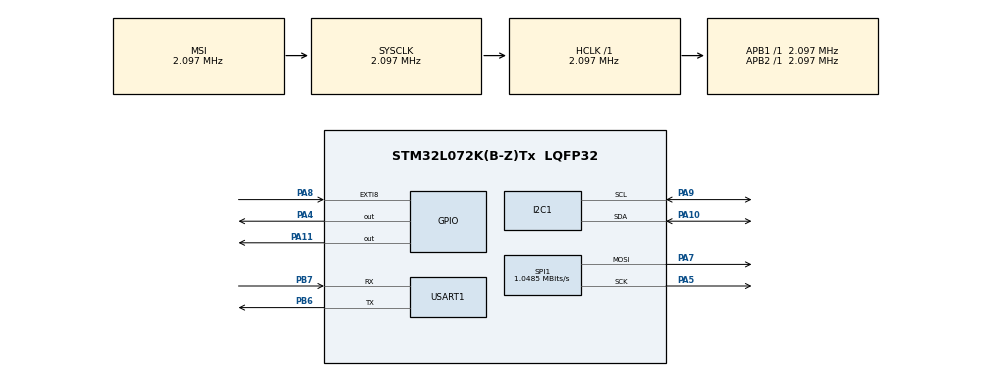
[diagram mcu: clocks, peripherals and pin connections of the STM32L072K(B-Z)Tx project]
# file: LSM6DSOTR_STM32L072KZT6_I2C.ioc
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I2C1.Timing=0x00000608
Mcu.Family=STM32L0
Mcu.Name=STM32L072K(B-Z)Tx
Mcu.Package=LQFP32
NVIC.EXTI4_15_IRQn=true\:0\:0\:false\:false\:true\:true\:true\:true
NVIC.USART1_IRQn=true\:0\:0\:false\:false\:true\:true\:true\:true
PA10.GPIO_Pu=GPIO_PULLUP
PA10.Mode=I2C
PA10.Signal=I2C1_SDA
PA11.PinState=GPIO_PIN_SET
PA11.Signal=GPIO_Output
PA13.Mode=Serial_Wire
PA13.Signal=SYS_SWDIO
PA14.Mode=Serial_Wire
PA14.Signal=SYS_SWCLK
PA4.PinState=GPIO_PIN_SET
PA4.Signal=GPIO_Output
PA5.Mode=TX_Only_Simplex_Unidirect_Master
PA5.Signal=SPI1_SCK
PA7.Mode=TX_Only_Simplex_Unidirect_Master
PA7.Signal=SPI1_MOSI
PA8.GPIO_PuPd=GPIO_PULLDOWN
PA8.Signal=GPXTI8
PA9.GPIO_Pu=GPIO_PULLUP
PA9.Mode=I2C
PA9.Signal=I2C1_SCL
PB6.Mode=Asynchronous
PB6.Signal=USART1_TX
PB7.Mode=Asynchronous
PB7.Signal=USART1_RX
ProjectManager.HeapSize=0x200
ProjectManager.StackSize=0x400
ProjectManager.TargetToolchain=STM32CubeIDE
RCC.AHBFreq_Value=2097000
RCC.APB1Freq_Value=2097000
RCC.APB1TimFreq_Value=2097000
RCC.APB2Freq_Value=2097000
RCC.APB2TimFreq_Value=2097000
RCC.HSI16_VALUE=16000000
RCC.HSI48_VALUE=48000000
RCC.HSI_VALUE=16000000
RCC.LSE_VALUE=32768
RCC.MSI_VALUE=2097000
RCC.SYSCLKFreq_VALUE=2097000
RCC.VCOOutputFreq_Value=48000000
SPI1.CalculateBaudRate=1.0485 MBits/s
SPI1.Direction=SPI_DIRECTION_2LINES
SPI1.Mode=SPI_MODE_MASTER
SPI1.VirtualType=VM_MASTER
USART1.VirtualMode-Asynchronous=VM_ASYNC
board=custom

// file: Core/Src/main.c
/* USER CODE BEGIN Header */
/**
  ******************************************************************************
  * @file           : main.c
  * @brief          : Main program body
  ******************************************************************************
  * @attention
  *
  * Copyright (c) 2025 STMicroelectronics.
  * All rights reserved.
  *
  * This software is licensed under terms that can be found in the LICENSE file
  * in the root directory of this software component.
  * If no LICENSE file comes with this software, it is provided AS-IS.
  *
  ******************************************************************************
  */
/* USER CODE END Header */
#include "main.h"

/* USER CODE BEGIN Includes */
#include "string.h"
#include <stdio.h>
/* USER CODE END Includes */

/* USER CODE BEGIN PD */
#define TIMEOUT 100

#define LED_COUNT 19  // Change as needed

/* USER CODE END PD */

I2C_HandleTypeDef hi2c1;

SPI_HandleTypeDef hspi1;

UART_HandleTypeDef huart1;

/* USER CODE BEGIN PV */
uint16_t Button_Pressed = RESET;
uint8_t buffer[5];
// i2c LM75B sensor code
static const uint8_t LSM6DSO_ADDR = 0xD4;  // I2C address of LSM6DSO

//I2C sensor
static const uint8_t LSM6DSO_REG_OUTX_L_XL = 0x28;  // X-axis acceleration data low byte
static const uint8_t LSM6DSO_REG_OUTX_H_XL = 0x29;  // X-axis acceleration data high byte
static const uint8_t LSM6DSO_REG_OUTY_L_XL = 0x2A;  // Y-axis acceleration data low byte
static const uint8_t LSM6DSO_REG_OUTY_H_XL = 0x2B;  // Y-axis acceleration data high byte
static const uint8_t LSM6DSO_REG_OUTZ_L_XL = 0x2C;  // Z-axis acceleration data low byte
static const uint8_t LSM6DSO_REG_OUTZ_H_XL = 0x2D;  // Z-axis acceleration data high byte

volatile int woke_up = 0; // Flag to track wake-up
volatile int sleep_flag = 1; // Start with Sleep mode enabled

// APA102 led SPI
uint8_t spiBuffer[4 + (LED_COUNT * 4) + 4]; // Start (4 bytes w 0x00) + LED Frames + End Frame (4 bytes w 0xFF) // LED frame is 4 bytes so you multiply led count by 4;
// start and stop is only needed for first and last transmit;

int red = 0;
int blue = 0;
int green = 0;
int brightness = 0;

/* USER CODE END PV */

void SystemClock_Config(void);
static void MX_GPIO_Init(void);
static void MX_I2C1_Init(void);
static void MX_SPI1_Init(void);
static void MX_USART1_UART_Init(void);

int main(void)
{

  /* USER CODE BEGIN 1 */

	// Optional: Send a message before entering Sleep mode
	char msg[] = "Entering Sleep mode...\r\n";
	HAL_UART_Transmit(&huart1, (uint8_t*)msg, strlen(msg), 100);

	float temp_c;
	HAL_StatusTypeDef ret;
	uint8_t buf[16];
	int16_t val;
	uint8_t data_sleep[2];
  /* USER CODE END 1 */

  /* MCU Configuration--------------------------------------------------------*/

  /* Reset of all peripherals, Initializes the Flash interface and the Systick. */
  HAL_Init();

  /* Configure the system clock */
  SystemClock_Config();

  /* Initialize all configured peripherals */
  MX_GPIO_Init();
  MX_I2C1_Init();
  MX_SPI1_Init();
  MX_USART1_UART_Init();
  /* USER CODE BEGIN 2 */

  //static const uint8_t TOS_REG = 0x03;
  //static const uint8_t ctrl1_xl_value = 0x40;
  //static const uint8_t TOS_DATA_LSB = 0x00;
  //uint8_t dataBuffer[2]; // buffer for register address and data
  //dataBuffer[0] = LSM6DSO_REG_CTRL1_XL; // register address
  //dataBuffer[1] = ctrl1_xl_value; // 1st data byte

  //ret = HAL_I2C_Master_Transmit(&hi2c1, LSM6DSO_ADDR, dataBuffer, sizeof(dataBuffer), TIMEOUT);
  //if ( ret != HAL_OK ) {
    //strcpy((char*)buf, "Er OS 1\r\n");
  //} else {
  	//strcpy((char*)buf, "TOS done\r\n");
    //}
  // Send out buffer (temperature or error message)
  //HAL_UART_Transmit(&huart1, buf, strlen((char*)buf), TIMEOUT);

  // i2c TMP102 sensor code
  // Tell TMP102 that we want to read from the temperature register

    // For 500 mg (~0.5g), set WAKE_UP_THS = 16 (0x10), since 500 / 31.25 ≈ 16.
    // Threshold for wake-up: 1 LSB weight depends on WAKE_THS_W in WAKE_UP_DUR (5Ch);
    // WAKE_UP_DUR (5Ch) default value: 000000 = (0: 1 LSB = FS_XL / (26); = 64; 1 LSB weight 64;
    // FS_XL = +-2000mg -> 4000/64 = 31.25 mg;
    // for 1000mg treshhold: 1000mg / 31.25 = 32;

    void LSM6DSOTR_Init(void) {
        uint8_t data[2];

        // Full reset
        //data[0] = 0x12; data[1] = 0x01; // CTRL3_C: SW_RESET
        //ret = HAL_I2C_Master_Transmit(&hi2c1, LSM6DSO_ADDR, data, 2, 100);
        //if (ret != HAL_OK) printf("Reset failed\n");
        //HAL_Delay(200);

        // code for ULP mode selection
        // Enable accelerometer, high-performance
        //data[0] = 0x10; data[1] = 0x00; // CTRL1_XL: sensor off
        //HAL_I2C_Master_Transmit(&hi2c1, LSM6DSO_ADDR, data, 2, 100);
        //HAL_Delay(50);
        // XL_HM_MODE high-performance operating mode disabled
        data[0] = 0x15; data[1] = 0x10; // HL_HM_MODE: 1 - to disable high-erformance mode; 0 - enable high performance mode;
        HAL_I2C_Master_Transmit(&hi2c1, LSM6DSO_ADDR, data, 2, 100);
        HAL_Delay(50);
        //data[0] = 0x14; data[1] = 0x80; // ULP_MODE - 0x80 enabled; 0x00 - disabled
        //HAL_I2C_Master_Transmit(&hi2c1, LSM6DSO_ADDR, data, 2, 100);
        //HAL_Delay(50);

        // Enable accelerometer, high-performance
        data[0] = 0x10; data[1] = 0x10; // CTRL1_XL: 12.5 Hz, ±2g
        HAL_I2C_Master_Transmit(&hi2c1, LSM6DSO_ADDR, data, 2, 100);
        HAL_Delay(50);

        // Route wake-up to INT1
        data[0] = 0x5E; data[1] = 0x20; // MD1_CFG: INT1_WU = 1
        HAL_I2C_Master_Transmit(&hi2c1, LSM6DSO_ADDR, data, 2, 100);
        HAL_Delay(50);

        // TAP_CFG2, INTERRUPTS_ENABLE
        data[0] = 0x58; data[1] = 0x80; // Enables basic interrupts
        HAL_I2C_Master_Transmit(&hi2c1, LSM6DSO_ADDR, data, 2, 100);
        HAL_Delay(50);

        // Set wake-up threshold to 31.25 mg
        data[0] = 0x5B; data[1] = 0x02;
        HAL_I2C_Master_Transmit(&hi2c1, LSM6DSO_ADDR, data, 2, 100);
        HAL_Delay(50);

        // Enable slope filter and interrupts
        data[0] = 0x56; data[1] = 0x30; // HPF applied &  sleep status reported on INT pins
        HAL_I2C_Master_Transmit(&hi2c1, LSM6DSO_ADDR, data, 2, 100);
        HAL_Delay(50);

/*
        // registers for INT trigger wake up

        data[0] = 0x15; data[1] = 0x00; // CTRL6_C: XL_HM_MODE = 0
        HAL_I2C_Master_Transmit(&hi2c1, LSM6DSO_ADDR, data, 2, 100);
        HAL_Delay(50);

        // Enable high-pass filter
        data[0] = 0x17; data[1] = 0x00; // CTRL8_XL: HP_EN = 1
        HAL_I2C_Master_Transmit(&hi2c1, LSM6DSO_ADDR, data, 2, 100);
        HAL_Delay(50);

        // Set wake-up threshold to 31.25 mg
        data[0] = 0x5B; data[1] = 0x08;
        HAL_I2C_Master_Transmit(&hi2c1, LSM6DSO_ADDR, data, 2, 100);
        HAL_Delay(50);

        // Immediate wake-up
        data[0] = 0x5C; data[1] = 0x00; // WAKE_UP_DUR
        HAL_I2C_Master_Transmit(&hi2c1, LSM6DSO_ADDR, data, 2, 100);
        HAL_Delay(50);

        // Route wake-up to INT1
        data[0] = 0x5E; data[1] = 0x20; // MD1_CFG: INT1_WU = 1
        HAL_I2C_Master_Transmit(&hi2c1, LSM6DSO_ADDR, data, 2, 100);
        HAL_Delay(50);

        // INT1 push-pull, active-high
        data[0] = 0x12; data[1] = 0x44; // CTRL3_C
        HAL_I2C_Master_Transmit(&hi2c1, LSM6DSO_ADDR, data, 2, 100);
        HAL_Delay(50);

        // Verify all registers; for debugging, to check if registers hold correct value
        uint8_t vald;
        HAL_I2C_Mem_Read(&hi2c1, LSM6DSO_ADDR, 0x0F, 1, &vald, 1, 100); printf("WHO_AM_I: 0x%02X\n", vald); // 0x6C
        HAL_I2C_Mem_Read(&hi2c1, LSM6DSO_ADDR, 0x10, 1, &vald, 1, 100); printf("CTRL1_XL: 0x%02X\n", vald);  // 0x040
        HAL_I2C_Mem_Read(&hi2c1, LSM6DSO_ADDR, 0x15, 1, &vald, 1, 100); printf("CTRL6_C: 0x%02X\n", vald); // 0x00
        HAL_I2C_Mem_Read(&hi2c1, LSM6DSO_ADDR, 0x17, 1, &vald, 1, 100); printf("CTRL8_XL: 0x%02X\n", vald); // 0x10
        HAL_I2C_Mem_Read(&hi2c1, LSM6DSO_ADDR, 0x56, 1, &vald, 1, 100); printf("TAP_CFG0: 0x%02X\n", vald); // 0x10
        HAL_I2C_Mem_Read(&hi2c1, LSM6DSO_ADDR, 0x5B, 1, &vald, 1, 100); printf("WAKE_UP_THS: 0x%02X\n", vald); // 0x01
        HAL_I2C_Mem_Read(&hi2c1, LSM6DSO_ADDR, 0x5E, 1, &vald, 1, 100); printf("MD1_CFG: 0x%02X\n", vald); // 0x20
        HAL_I2C_Mem_Read(&hi2c1, LSM6DSO_ADDR, 0x12, 1, &vald, 1, 100); printf("CTRL3_C: 0x%02X\n", vald); // 0x40
*/
    }

    LSM6DSOTR_Init();

    // Send out buffer (temperature or error message)
    //HAL_UART_Transmit(&huart1, buf, strlen((char*)buf), TIMEOUT);
    //HAL_Delay(1000);

    void setLEDColor(int index, uint8_t red, uint8_t green, uint8_t blue, uint8_t brightness) {
        if (index >= LED_COUNT) return;

        spiBuffer[4 + (index * 4)] = 0xE0 | (brightness & 0x1F); // Brightness (0-31); in datasheet there is 32 total brightness levels, 0 - 31; 5 bits;
        // brightness byte first 3 bits from MSB always need to be set 111 or 0XE0;

        // 0x1F = 0b00011111 → This masks only the lower 5 bits; bitwase AND operation - &; If both bits are 1, the result is 1; otherwise, the result is 0.
        // If brightness = 20 (0b00010100), → brightness & 0x1F = 0b00010100 (remains 20);
        // If brightness = 50 (0b00110010), → brightness & 0x1F = 0b00011111 (caps it at 31);
        // 50 = 0b00110010 & 0x1F = 0b00011111 = 0b00011111 (becomes 31 (maximum valid value));
        // Why Use & 0x1F; limits brightness to 5 bits (0-31); If the user inputs brightness = 100, the bitwise AND forces it back to 31.

        // 0xE0 | (brightness & 0x1F); This combines the fixed 0b11100000 with the brightness value.
        // If brightness = 20 (0b00010100): 0b11100000 | 0b00010100 = 0b11110100  // Equals 0xF4;
        // If brightness = 31 (0b00011111): 0b11100000 | 0b00011111 = 0b11111111  // Equals 0xFF;
        // If brightness = 0 (0b00000000): 0b11100000 | 0b00000000 = 0b11100000  // Equals 0xE0 (minimum brightness)
        spiBuffer[4 + (index * 4) + 1] = blue;
        spiBuffer[4 + (index * 4) + 2] = green;
        spiBuffer[4 + (index * 4) + 3] = red;
    }

    void updateAPA102() {
        // Send Start Frame (4 bytes of 0x00)
        memset(spiBuffer, 0x00, 4); // memset() is a standard C library function that sets a block of memory to a specific value;
        // Using memset() ensures that the first 4 bytes of spiBuffer are correctly set to 0x00.
        // Equivalent Manual Code (Without memset): spiBuffer[0] = 0x00; spiBuffer[1] = 0x00; spiBuffer[2] = 0x00; spiBuffer[3] = 0x00;
        // Here, spiBuffer is already a pointer to the first element of the array.
        // In C, when you use an array name without an index (spiBuffer), it automatically decays into a pointer to its first element (&spiBuffer[0]).
        // So, spiBuffer is equivalent to &spiBuffer[0];

        // End Frame (must be at least LED_COUNT / 2 bits set to 1)
        memset(&spiBuffer[4 + (LED_COUNT * 4)], 0xFF, 4);
        // The & (address-of operator) is used to pass the memory address of a specific position inside spiBuffer.
        // &spiBuffer[4 + (LED_COUNT * 4)] → Pointer to the position in spiBuffer where the End Frame starts.
        // 0xFF → The value we want to fill (11111111 in binary). 4 → Number of bytes to set.

        // This is incorrect because spiBuffer[4 + (LED_COUNT * 4)] is a single uint8_t value, not a pointer.
        // memset() expects a pointer, but without &, we are passing an integer value, which causes an error.
        // Here, spiBuffer[4 + (LED_COUNT * 4)] refers to a specific element in the array.
        // However, we don’t want to pass the value of that element (which is a single uint8_t).
        // Instead, we need to pass the memory address of that element.
        // Using & gives us the pointer to that specific position, which memset() requires.

        // Golden Rule: If passing the entire array, don’t use &. If passing a specific element’s address, use &.

        HAL_SPI_Transmit(&hspi1, spiBuffer, sizeof(spiBuffer), TIMEOUT);
    }

    void setLEDStrip() {
        for (int i = 0; i < LED_COUNT; i++) {
            setLEDColor(i, red, green, blue, brightness); // Red color, max brightness
        }
        updateAPA102();
    }

    //void enter_sleep(void)
    //{
      //HAL_SuspendTick();
      //HAL_PWR_EnterSLEEPMode(PWR_MAINREGULATOR_ON, PWR_SLEEPENTRY_WFI);
      // After waking up, resume SysTick, continues where it left off, after wake up and trigger EXTU_callback executes;
      //HAL_ResumeTick();
    //}

    //enter_sleep(); // Sleep initially

  /* USER CODE END 2 */

  /* Infinite loop */
  /* USER CODE BEGIN WHILE */
  while (1)
  {
	  // without any low power improvements 28 ma consumption;

	  // The MCU knows PA0 is the wake-up trigger because:
	  // MX_GPIO_Init configures PA0 as an EXTI input on Line 0.
	  // The EXTI0 interrupt is enabled and mapped to PA0 in hardware.
	  // HAL_GPIO_EXTI_Callback confirms PA0 triggered it with GPIO_PIN_0.

	  //Use a flag to decide when to sleep, so the MCU only enters Sleep mode when you explicitly want it to. For example:
	  if (sleep_flag)
	      {
		   HAL_GPIO_WritePin(GPIOA, GPIO_PIN_4, GPIO_PIN_RESET); // off

	        // Enable accelerometer, low_performance
	        //data_sleep[0] = 0x10; data_sleep[1] = 0x10; // CTRL1_XL: 12 Hz, ±2g
	        //HAL_I2C_Master_Transmit(&hi2c1, LSM6DSO_ADDR, data_sleep, 2, 100);
	        //HAL_Delay(50);

	       HAL_SuspendTick();
	       //HAL_PWR_EnterSLEEPMode(PWR_MAINREGULATOR_ON, PWR_SLEEPENTRY_WFI);
	       HAL_PWR_EnterSTOPMode(PWR_LOWPOWERREGULATOR_ON, PWR_STOPENTRY_WFI);

	   	   //After waking up, resume SysTick, continues where it left off, after wake up and trigger EXTU_callback executes;
	       HAL_ResumeTick();

	       // Enable accelerometer, high-performance
	       //data_sleep[0] = 0x10; data_sleep[1] = 0x40; // CTRL1_XL: 104 Hz, ±2g
	       //HAL_I2C_Master_Transmit(&hi2c1, LSM6DSO_ADDR, data_sleep, 2, 100);
	       //HAL_Delay(10);
	      }

	  	HAL_GPIO_WritePin(GPIOA, GPIO_PIN_4, GPIO_PIN_SET); // on

	    // Suspend SysTick to prevent it from waking the CPU every 1 ms
	    //HAL_SuspendTick();

	    // Enter Sleep mode using WFI (Wait For Interrupt)
	    //HAL_PWR_EnterSLEEPMode(PWR_MAINREGULATOR_ON, PWR_SLEEPENTRY_WFI);

	    // After the ISR completes, the program returns to the exact point where it entered
	    // Sleep mode—right after the HAL_PWR_EnterSLEEPMode(PWR_MAINREGULATOR_ON, PWR_SLEEPENTRY_WFI) call in your while (1) loop.

	    // Here’s how it plays out with your example:
	    // The MCU enters Sleep mode at HAL_PWR_EnterSLEEPMode.
	    // PA0 triggers an EXTI interrupt, waking the MCU.
	    // HAL_GPIO_EXTI_Callback executes (e.g., you could toggle an LED here).
	    // Control returns to the while (1) loop, executing HAL_ResumeTick() and the UART message transmission.

	    // HAL_ResumeTick() re-enables the SysTick interrupt, but it’s only needed for the HAL timekeeping functions
	    // (e.g., HAL_Delay or HAL_GetTick) to work correctly in the main loop after wake-up.
	    //It’s not required for the CPU to process the EXTI interrupt itself.

	    // After waking up, resume SysTick
	    //HAL_ResumeTick(); // Resumes here after ISR

	    // This runs AFTER the callback
//	    if (woke_up)
//	       {
//	         char msg[] = "Woke up via PA0!\r\n";
//	         HAL_UART_Transmit(&huart1, (uint8_t*)msg, strlen(msg), 100);
//	         woke_up = 0; // Reset flag
//	       }

	  uint8_t wake_up_src_0, wake_up_src, accel_data[6];
	  // Read all axes
	  HAL_I2C_Mem_Read(&hi2c1, LSM6DSO_ADDR, 0x28, 1, accel_data, 6, 100); // OUTX_L_XL to OUTZ_H_XL
	  int16_t accel_x = (int16_t)(accel_data[1] << 8 | accel_data[0]);
	  int16_t accel_y = (int16_t)(accel_data[3] << 8 | accel_data[2]);
	  int16_t accel_z = (int16_t)(accel_data[5] << 8 | accel_data[4]);
	  HAL_I2C_Mem_Read(&hi2c1, LSM6DSO_ADDR, 0x1B, 1, &wake_up_src, 1, 100);
	  // when 0x
	  // reading 0xe -> 0000 1110 -> X, Y was detected and WU_IA detected and in 0x1A reg got 0x02
	  // if wu_ia = 1 -> wake-up interrupt is active—motion exceeded the threshold.
	  // wake-up was triggered by significant motion on the X and Y axes, but not Z.
	  // SLEEP_STATE = 0: The device is in active mode (it woke up from sleep).
	  // This is expected behavior for the wake-up function—it monitors acceleration against a threshold
	  // (set in WAKE_UP_THS) and wakes the device when exceeded

	  HAL_I2C_Mem_Read(&hi2c1, LSM6DSO_ADDR, 0x1A, 1, &wake_up_src_0, 1, 100); // Source register for all interrupts
	  uint8_t int1_state = HAL_GPIO_ReadPin(GPIOA, GPIO_PIN_8);
	  // 0x1A reg got 0x02 -> WU_IA - wake up event status
	  // Wake-up interrupt active (WU_IA = 1), no other interrupts (free-fall, taps, 6D, etc.).
	  // this means wake up event was triggered and should be routed to INT1 if correctly routed

	  printf("WAKE_UP_SRC: 0x%02X, X: %d, Y: %d, Z: %d, INT1: %d\n", wake_up_src, accel_x, accel_y, accel_z, int1_state);
	    if (wake_up_src & 0x08) {
	       val = 0xFF;
	          }
	  HAL_Delay(100);

/*
	  // i2c TMP102 sensor code
	  // Tell TMP102 that we want to read from the temperature register
	    //buf[0] = LSM6DSO_REG_OUTX_L_XL; //x axis
	    buf[0] = LSM6DSO_REG_OUTY_L_XL; // y axis
	    //buf[0] = LSM6DSO_REG_OUTZ_L_XL; // z axis // when not moving and staying horizontal z reads arround 1g bc gravity;
	    ret = HAL_I2C_Master_Transmit(&hi2c1, LSM6DSO_ADDR, buf, 1, TIMEOUT);
	    if ( ret != HAL_OK ) {
	      strcpy((char*)buf, "Error Tx\r\n");
	    } else {
	      // Read 2 bytes from the temperature register
	      ret = HAL_I2C_Master_Receive(&hi2c1, LSM6DSO_ADDR, buf, 2, TIMEOUT); // | 0x01 read address ends w 1;
	      if ( ret != HAL_OK ) {
	        strcpy((char*)buf, "Error Rx\r\n");
	      } else {
	        //Combine the bytes
	        val = ((int16_t)buf[1] << 8) | (buf[0]);
	        // Convert to 2's complement, since temperature can be negative
	        //if ( val > 0x7FFF ) { //checks if the value is greater than 0x7FF, which in binary is 0111 1111 1111, if exceeded then its negative number;
	          //val |= 0xF000; // performs a bitwise OR with 0xF000 (which is 1111 0000 0000 0000 in binary).
	          // This operation sets the upper 4 bits of val to 1, effectively extending the sign bit from the 12th position to the 16th position.
	        //} // When using int16_t in C, no extra conversion is needed—just combine MSB and LSB correctly.
	        //temp_c = val * 1.0;
	        //sprintf((char*)buf, "value X: %u\r\n", (unsigned int)val);
	        printf("Sensor Value: %d\n", val);
	        // Understanding the 16-bit Output Range: The total number of possible values (steps) is 65,5; 2^16;
	        // he LSM6DSO accelerometer in ±2g mode means it can measure from -2g to 2g = 4000mg;
	        // 4000mg / 65536 = 0.061 mg/LSB;
	        // val = -565 (in dec) * 0.061 = -34.465 mg / 1000 = - 0.0345 g
	      }
	    }
	    // Send out buffer (temperature or error message)
	    //HAL_UART_Transmit(&huart1, buf, strlen((char*)buf), TIMEOUT);
*/
/*
	    brightness = 10;

	    if (val >= 16000 || val <= -16000){
	    	red = 255;
	    	blue = 0;
	    	green = 0;
		    setLEDStrip();
	    } else if (val <= 15999 && val >= 1000){
	    	red = 0;
	    	blue = 255;
	    	green = 0;
	    	setLEDStrip();
	    } else if (val <= -1000 && val >= -15999){
	    	red = 0;
	    	blue = 0;
	    	green = 255;
	    	setLEDStrip();
	    } else if (val <= 999 && val >= -999){
	    	red = 255;
	    	blue = 255;
	    	green = 255;
	    	setLEDStrip();
	    }
*/

	  brightness = 10;

	  if (int1_state){
	  	   //red = 255;
	  	   //blue = 255;
	  	   //green = 255;
	  	   //setLEDStrip();
	  	   //HAL_Delay(500);
	  	   red = 0;
	  	   blue = 0;
	  	   green = 0;
	  	   setLEDStrip();
	  } else {
		  red = 0;
		  blue = 0;
		  green = 0;
		  setLEDStrip();
	  }

	    HAL_Delay(100);

	    //if (sleep_flag)
	    //{
	    //enter_sleep(); // Go back to sleep after work is done
	    //}
	    sleep_flag = 1; // go back to sleep in next loop start

    /* USER CODE END WHILE */

  }
}

void SystemClock_Config(void)
{
  RCC_OscInitTypeDef RCC_OscInitStruct = {0};
  RCC_ClkInitTypeDef RCC_ClkInitStruct = {0};
  RCC_PeriphCLKInitTypeDef PeriphClkInit = {0};

  /** Configure the main internal regulator output voltage
  */
  __HAL_PWR_VOLTAGESCALING_CONFIG(PWR_REGULATOR_VOLTAGE_SCALE1);

  /** Initializes the RCC Oscillators according to the specified parameters
  * in the RCC_OscInitTypeDef structure.
  */
  RCC_OscInitStruct.OscillatorType = RCC_OSCILLATORTYPE_MSI;
  RCC_OscInitStruct.MSIState = RCC_MSI_ON;
  RCC_OscInitStruct.MSICalibrationValue = 0;
  RCC_OscInitStruct.MSIClockRange = RCC_MSIRANGE_5;
  RCC_OscInitStruct.PLL.PLLState = RCC_PLL_NONE;
  if (HAL_RCC_OscConfig(&RCC_OscInitStruct) != HAL_OK)
  {
    Error_Handler();
  }

  /** Initializes the CPU, AHB and APB buses clocks
  */
  RCC_ClkInitStruct.ClockType = RCC_CLOCKTYPE_HCLK|RCC_CLOCKTYPE_SYSCLK
                              |RCC_CLOCKTYPE_PCLK1|RCC_CLOCKTYPE_PCLK2;
  RCC_ClkInitStruct.SYSCLKSource = RCC_SYSCLKSOURCE_MSI;
  RCC_ClkInitStruct.AHBCLKDivider = RCC_SYSCLK_DIV1;
  RCC_ClkInitStruct.APB1CLKDivider = RCC_HCLK_DIV1;
  RCC_ClkInitStruct.APB2CLKDivider = RCC_HCLK_DIV1;

  if (HAL_RCC_ClockConfig(&RCC_ClkInitStruct, FLASH_LATENCY_0) != HAL_OK)
  {
    Error_Handler();
  }
  PeriphClkInit.PeriphClockSelection = RCC_PERIPHCLK_USART1|RCC_PERIPHCLK_I2C1;
  PeriphClkInit.Usart1ClockSelection = RCC_USART1CLKSOURCE_PCLK2;
  PeriphClkInit.I2c1ClockSelection = RCC_I2C1CLKSOURCE_PCLK1;
  if (HAL_RCCEx_PeriphCLKConfig(&PeriphClkInit) != HAL_OK)
  {
    Error_Handler();
  }
}

static void MX_I2C1_Init(void)
{

  hi2c1.Instance = I2C1;
  hi2c1.Init.Timing = 0x00000608;
  hi2c1.Init.OwnAddress1 = 0;
  hi2c1.Init.AddressingMode = I2C_ADDRESSINGMODE_7BIT;
  hi2c1.Init.DualAddressMode = I2C_DUALADDRESS_DISABLE;
  hi2c1.Init.OwnAddress2 = 0;
  hi2c1.Init.OwnAddress2Masks = I2C_OA2_NOMASK;
  hi2c1.Init.GeneralCallMode = I2C_GENERALCALL_DISABLE;
  hi2c1.Init.NoStretchMode = I2C_NOSTRETCH_DISABLE;
  if (HAL_I2C_Init(&hi2c1) != HAL_OK)
  {
    Error_Handler();
  }

  /** Configure Analogue filter
  */
  if (HAL_I2CEx_ConfigAnalogFilter(&hi2c1, I2C_ANALOGFILTER_ENABLE) != HAL_OK)
  {
    Error_Handler();
  }

  /** Configure Digital filter
  */
  if (HAL_I2CEx_ConfigDigitalFilter(&hi2c1, 0) != HAL_OK)
  {
    Error_Handler();
  }

}

static void MX_SPI1_Init(void)
{

  /* SPI1 parameter configuration*/
  hspi1.Instance = SPI1;
  hspi1.Init.Mode = SPI_MODE_MASTER;
  hspi1.Init.Direction = SPI_DIRECTION_2LINES;
  hspi1.Init.DataSize = SPI_DATASIZE_8BIT;
  hspi1.Init.CLKPolarity = SPI_POLARITY_LOW;
  hspi1.Init.CLKPhase = SPI_PHASE_1EDGE;
  hspi1.Init.NSS = SPI_NSS_SOFT;
  hspi1.Init.BaudRatePrescaler = SPI_BAUDRATEPRESCALER_2;
  hspi1.Init.FirstBit = SPI_FIRSTBIT_MSB;
  hspi1.Init.TIMode = SPI_TIMODE_DISABLE;
  hspi1.Init.CRCCalculation = SPI_CRCCALCULATION_DISABLE;
  hspi1.Init.CRCPolynomial = 7;
  if (HAL_SPI_Init(&hspi1) != HAL_OK)
  {
    Error_Handler();
  }

}

static void MX_USART1_UART_Init(void)
{

  huart1.Instance = USART1;
  huart1.Init.BaudRate = 115200;
  huart1.Init.WordLength = UART_WORDLENGTH_8B;
  huart1.Init.StopBits = UART_STOPBITS_1;
  huart1.Init.Parity = UART_PARITY_NONE;
  huart1.Init.Mode = UART_MODE_TX_RX;
  huart1.Init.HwFlowCtl = UART_HWCONTROL_NONE;
  huart1.Init.OverSampling = UART_OVERSAMPLING_16;
  huart1.Init.OneBitSampling = UART_ONE_BIT_SAMPLE_DISABLE;
  huart1.AdvancedInit.AdvFeatureInit = UART_ADVFEATURE_NO_INIT;
  if (HAL_UART_Init(&huart1) != HAL_OK)
  {
    Error_Handler();
  }

}

static void MX_GPIO_Init(void)
{
  GPIO_InitTypeDef GPIO_InitStruct = {0};

  /* GPIO Ports Clock Enable */
  __HAL_RCC_GPIOA_CLK_ENABLE();
  __HAL_RCC_GPIOB_CLK_ENABLE();

  /*Configure GPIO pin Output Level */
  HAL_GPIO_WritePin(GPIOA, GPIO_PIN_4|GPIO_PIN_11, GPIO_PIN_SET);

  /*Configure GPIO pins : PA4 PA11 */
  GPIO_InitStruct.Pin = GPIO_PIN_4|GPIO_PIN_11;
  GPIO_InitStruct.Mode = GPIO_MODE_OUTPUT_PP;
  GPIO_InitStruct.Pull = GPIO_NOPULL;
  GPIO_InitStruct.Speed = GPIO_SPEED_FREQ_LOW;
  HAL_GPIO_Init(GPIOA, &GPIO_InitStruct);

  /*Configure GPIO pin : PA8 */
  GPIO_InitStruct.Pin = GPIO_PIN_8;
  GPIO_InitStruct.Mode = GPIO_MODE_IT_RISING;
  GPIO_InitStruct.Pull = GPIO_PULLDOWN;
  HAL_GPIO_Init(GPIOA, &GPIO_InitStruct);

  /* EXTI interrupt init*/
  HAL_NVIC_SetPriority(EXTI4_15_IRQn, 0, 0);
  HAL_NVIC_EnableIRQ(EXTI4_15_IRQn);

}

/* USER CODE BEGIN 4 */

void HAL_GPIO_EXTI_Callback(uint16_t GPIO_Pin)
{

	// In Sleep mode (WFI), the CPU wakes up for any enabled interrupt, including any configured EXTI line.
	//The MCU doesn’t care which one wakes it—it just resumes execution and lets the NVIC sort it out.

	// Each pin (PA0, PB1, PC2) is tied to a unique EXTI line (EXTI0, EXTI1, EXTI2);

	if (GPIO_Pin == GPIO_PIN_8) // PA0 (EXTI0) // Check if PA0 triggered the interrupt
	  {
		// Do something when PA0 wakes the MCU

		// This runs FIRST on wake-up
		sleep_flag = 0;
		woke_up = 1; // Set flag for main loop; this make sure that the wake up was from GPIO_PIN_0 not some other pin;
		// if its other pin trigger then you can put else statement to go back to sleep;
		// Optional: Add immediate actions here (e.g., toggle LED)

	    // Code here runs after wake-up (e.g., toggle an LED or log event)
		// This runs FIRST after wake-up
		// e.g., toggle an LED or set a flag

	  }
//	else // Any other trigger pin that woke mcu up (e.g., PB1, PC2, etc.)
//	{
	// Go back to Sleep mode immediately
//	HAL_SuspendTick(); // Suspend SysTick to avoid unwanted wake-ups
//	HAL_PWR_EnterSLEEPMode(PWR_MAINREGULATOR_ON, PWR_SLEEPENTRY_WFI);

	// The HAL_ResumeTick() after the Sleep call only runs if another interrupt wakes it again.
//	HAL_ResumeTick(); // This runs after waking up again

//	}

	//switch(GPIO_Pin)
	//{
	//case GPIO_PIN_13: // u cant make EXTI same pin on  other port so no need for port specification
	//	//HAL_GPIO_WritePin(GPIOB, GPIO_PIN_0 | GPIO_PIN_7 | GPIO_PIN_14, GPIO_PIN_SET); // on
	//	HAL_GPIO_TogglePin(GPIOB, GPIO_PIN_0 | GPIO_PIN_7 | GPIO_PIN_14);
	//	break;
	//default:
	//	break;
	//}
}

//void HAL_UART_RxCpltCallback(UART_HandleTypeDef *huart) {
//	HAL_UART_Receive_IT(&huart1, buffer, 5);
//	HAL_UART_Transmit(&huart1, buffer, 5, 0xFFFF); //interrupt callback isn’t reached until you enter 5 characters.
	//At that point, the 5 characters are transmitted from the device
//}

/* USER CODE END 4 */

void Error_Handler(void)
{
  __disable_irq();
  while (1)
  {
  }
}
